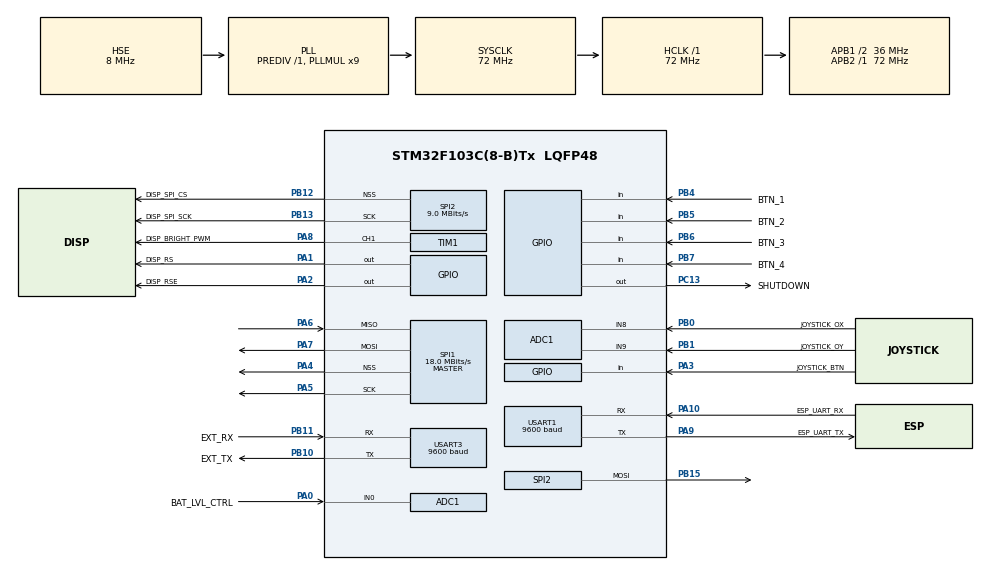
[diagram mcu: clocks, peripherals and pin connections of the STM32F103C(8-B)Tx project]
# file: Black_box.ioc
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ADC1.Channel-0\#ChannelRegularConversion=ADC_CHANNEL_0
ADC1.Channel-1\#ChannelRegularConversion=ADC_CHANNEL_8
ADC1.Channel-2\#ChannelRegularConversion=ADC_CHANNEL_9
ADC1.Channel-3\#ChannelRegularConversion=ADC_CHANNEL_TEMPSENSOR
ADC1.Channel-4\#ChannelRegularConversion=ADC_CHANNEL_VREFINT
ADC1.DataAlign=ADC_DATAALIGN_RIGHT
ADC1.EnableInjectedConversion=DISABLE
ADC1.InjNumberOfConversion=3
ADC1.NbrOfConversion=5
ADC1.NbrOfConversionFlag=1
ADC1.Rank-0\#ChannelRegularConversion=1
ADC1.Rank-1\#ChannelRegularConversion=2
ADC1.Rank-2\#ChannelRegularConversion=3
ADC1.Rank-3\#ChannelRegularConversion=4
ADC1.Rank-4\#ChannelRegularConversion=5
ADC1.SamplingTime-0\#ChannelRegularConversion=ADC_SAMPLETIME_239CYCLES_5
ADC1.SamplingTime-1\#ChannelRegularConversion=ADC_SAMPLETIME_239CYCLES_5
ADC1.SamplingTime-2\#ChannelRegularConversion=ADC_SAMPLETIME_239CYCLES_5
ADC1.SamplingTime-3\#ChannelRegularConversion=ADC_SAMPLETIME_239CYCLES_5
ADC1.SamplingTime-4\#ChannelRegularConversion=ADC_SAMPLETIME_239CYCLES_5
ADC1.master=1
Dma.ADC1.0.Direction=DMA_PERIPH_TO_MEMORY
Dma.ADC1.0.Instance=DMA1_Channel1
Dma.ADC1.0.MemDataAlignment=DMA_MDATAALIGN_HALFWORD
Dma.ADC1.0.MemInc=DMA_MINC_ENABLE
Dma.ADC1.0.Mode=DMA_NORMAL
Dma.ADC1.0.PeriphDataAlignment=DMA_PDATAALIGN_HALFWORD
Dma.ADC1.0.PeriphInc=DMA_PINC_DISABLE
Dma.ADC1.0.Priority=DMA_PRIORITY_LOW
Dma.Request0=ADC1
Mcu.Family=STM32F1
Mcu.Name=STM32F103C(8-B)Tx
Mcu.Package=LQFP48
NVIC.DMA1_Channel1_IRQn=true\:0\:0\:false\:false\:true\:false\:true\:true
NVIC.PriorityGroup=NVIC_PRIORITYGROUP_4
NVIC.USART1_IRQn=true\:0\:0\:false\:false\:true\:true\:true\:true
NVIC.USART3_IRQn=true\:0\:0\:false\:false\:true\:true\:true\:true
PA0-WKUP.GPIO_Label=BAT_LVL_CTRL
PA0-WKUP.Signal=SharedAnalog_PA0
PA1.GPIO_Label=DISP_RS
PA1.Signal=GPIO_Output
PA10.GPIO_Label=ESP_UART_RX
PA10.Mode=Asynchronous
PA10.Signal=USART1_RX
PA13.Mode=Trace_Asynchronous_SW
PA13.Signal=SYS_JTMS-SWDIO
PA14.Mode=Trace_Asynchronous_SW
PA14.Signal=SYS_JTCK-SWCLK
PA2.GPIO_Label=DISP_RSE
PA2.Signal=GPIO_Output
PA3.GPIO_Label=JOYSTICK_BTN
PA3.GPIO_PuPd=GPIO_PULLUP
PA3.Signal=GPIO_Input
PA4.Mode=NSS_Signal_Hard_Output
PA4.Signal=SPI1_NSS
PA5.Mode=Full_Duplex_Master
PA5.Signal=SPI1_SCK
PA6.Mode=Full_Duplex_Master
PA6.Signal=SPI1_MISO
PA7.Mode=Full_Duplex_Master
PA7.Signal=SPI1_MOSI
PA8.GPIO_Label=DISP_BRIGHT_PWM
PA8.Signal=S_TIM1_CH1
PA9.GPIO_Label=ESP_UART_TX
PA9.Mode=Asynchronous
PA9.Signal=USART1_TX
PB0.GPIO_Label=JOYSTICK_OX
PB0.Signal=SharedAnalog_PB0
PB1.GPIO_Label=JOYSTICK_OY
PB1.Signal=SharedAnalog_PB1
PB10.GPIO_Label=EXT_TX
PB10.Mode=Asynchronous
PB10.Signal=USART3_TX
PB11.GPIO_Label=EXT_RX
PB11.Mode=Asynchronous
PB11.Signal=USART3_RX
PB12.GPIO_Label=DISP_SPI_CS
PB12.Mode=NSS_Signal_Hard_Output
PB12.Signal=SPI2_NSS
PB13.GPIO_Label=DISP_SPI_SCK
PB13.Mode=TX_Only_Simplex_Unidirect_Master
PB13.Signal=SPI2_SCK
PB15.Mode=TX_Only_Simplex_Unidirect_Master
PB15.Signal=SPI2_MOSI
PB3.Mode=Trace_Asynchronous_SW
PB3.Signal=SYS_JTDO-TRACESWO
PB4.GPIO_Label=BTN_1
PB4.GPIO_PuPd=GPIO_PULLUP
PB4.Signal=GPIO_Input
PB5.GPIO_Label=BTN_2
PB5.GPIO_PuPd=GPIO_PULLUP
PB5.Signal=GPIO_Input
PB6.GPIO_Label=BTN_3
PB6.GPIO_PuPd=GPIO_PULLUP
PB6.Signal=GPIO_Input
PB7.GPIO_Label=BTN_4
PB7.GPIO_PuPd=GPIO_PULLUP
PB7.Signal=GPIO_Input
PC13-TAMPER-RTC.GPIO_Label=SHUTDOWN
PC13-TAMPER-RTC.GPIO_ModeDefaultOutputPP=GPIO_MODE_OUTPUT_OD
PC13-TAMPER-RTC.GPIO_PuPd=GPIO_NOPULL
PC13-TAMPER-RTC.PinState=GPIO_PIN_SET
PC13-TAMPER-RTC.Signal=GPIO_Output
PC14-OSC32_IN.Mode=LSE-External-Oscillator
PC14-OSC32_IN.Signal=RCC_OSC32_IN
PC15-OSC32_OUT.Mode=LSE-External-Oscillator
PC15-OSC32_OUT.Signal=RCC_OSC32_OUT
PD0-OSC_IN.Mode=HSE-External-Oscillator
PD0-OSC_IN.Signal=RCC_OSC_IN
PD1-OSC_OUT.Mode=HSE-External-Oscillator
PD1-OSC_OUT.Signal=RCC_OSC_OUT
ProjectManager.HeapSize=0x200
ProjectManager.StackSize=0x400
ProjectManager.TargetToolchain=STM32CubeIDE
RCC.ADCPresc=RCC_ADCPCLK2_DIV6
RCC.AHBFreq_Value=72000000
RCC.APB1CLKDivider=RCC_HCLK_DIV2
RCC.APB1Freq_Value=36000000
RCC.APB1TimFreq_Value=72000000
RCC.APB2Freq_Value=72000000
RCC.APB2TimFreq_Value=72000000
RCC.HCLKFreq_Value=72000000
RCC.PLLMUL=RCC_PLL_MUL9
RCC.PLLSourceVirtual=RCC_PLLSOURCE_HSE
RCC.RTCClockSelection=RCC_RTCCLKSOURCE_LSE
RCC.SYSCLKFreq_VALUE=72000000
RCC.SYSCLKSource=RCC_SYSCLKSOURCE_PLLCLK
RCC.USBFreq_Value=48000000
RCC.USBPrescaler=RCC_USBCLKSOURCE_PLL_DIV1_5
RTC.AutoPrediv=RTC_AUTO_1_SECOND
SH.S_TIM1_CH1.0=TIM1_CH1,PWM Generation1 CH1
SH.SharedAnalog_PA0.0=GPIO_Analog
SH.SharedAnalog_PA0.1=ADC1_IN0,IN0
SH.SharedAnalog_PB0.0=GPIO_Analog
SH.SharedAnalog_PB0.1=ADC1_IN8,IN8
SH.SharedAnalog_PB1.0=GPIO_Analog
SH.SharedAnalog_PB1.1=ADC1_IN9,IN9
SPI1.BaudRatePrescaler=SPI_BAUDRATEPRESCALER_4
SPI1.CalculateBaudRate=18.0 MBits/s
SPI1.Direction=SPI_DIRECTION_2LINES
SPI1.Mode=SPI_MODE_MASTER
SPI1.VirtualNSS=VM_NSSHARD
SPI1.VirtualType=VM_MASTER
SPI2.BaudRatePrescaler=SPI_BAUDRATEPRESCALER_4
SPI2.CLKPhase=SPI_PHASE_1EDGE
SPI2.CLKPolarity=SPI_POLARITY_LOW
SPI2.CalculateBaudRate=9.0 MBits/s
SPI2.DataSize=SPI_DATASIZE_8BIT
SPI2.Direction=SPI_DIRECTION_2LINES
SPI2.FirstBit=SPI_FIRSTBIT_MSB
SPI2.Mode=SPI_MODE_MASTER
SPI2.VirtualNSS=VM_NSSHARD
SPI2.VirtualType=VM_MASTER
TIM1.Channel-PWM\ Generation1\ CH1=TIM_CHANNEL_1
TIM1.ClockDivision=TIM_CLOCKDIVISION_DIV1
TIM1.Pulse-PWM\ Generation1\ CH1=50000
USART1.BaudRate=9600
USART1.VirtualMode=VM_ASYNC
USART3.BaudRate=9600
USART3.VirtualMode=VM_ASYNC
USART3.WordLength=WORDLENGTH_8B
VP_ADC1_TempSens_Input.Mode=IN-TempSens
VP_ADC1_Vref_Input.Mode=IN-Vrefint
VP_RTC_No_RTC_Output.Mode=RTC_OUT_NO
VP_RTC_VS_RTC_Activate.Mode=RTC_Enabled
VP_RTC_VS_RTC_Calendar.Mode=RTC_Calendar
board=custom

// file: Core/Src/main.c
/* USER CODE BEGIN Header */
/**
  ******************************************************************************
  * @file           : main.c
  * @brief          : Main program body
  ******************************************************************************
  * @attention
  *
  * Copyright (c) 2025 STMicroelectronics.
  * All rights reserved.
  *
  * This software is licensed under terms that can be found in the LICENSE file
  * in the root directory of this software component.
  * If no LICENSE file comes with this software, it is provided AS-IS.
  *
  ******************************************************************************
  */
#define  AVER_PERIOD    100
/* USER CODE END Header */
#include "main.h"

/* USER CODE BEGIN Includes */
#include "drv_lcd_st7565.h"
#include "RingBuffer.h"

/* USER CODE END Includes */

/* USER CODE BEGIN PTD */
typedef union{
	uint16_t array[5];
	struct{
		uint16_t batlvl;
		uint16_t jox;
		uint16_t joy;
		uint16_t tmpr;
		uint16_t vref;
	};
}ADCdat_t;

typedef struct
{
  int batlvl;
  int jox;
  int joy;
  int tmpr;
  int vref;
}ADCaverdat_t;

int32_t aver_counter = AVER_PERIOD;
uint32_t adc_complete = 1;
uint32_t adc_avercomplete = 0;

typedef struct
{
  uint8_t joyx[128];
  uint8_t joyy[128];
  uint8_t Vbat[128];
  uint8_t Vpowsup[128];
  uint8_t Temper[128];
  uint8_t UART_string[1024];
  uint8_t Seconds[128];
}DispDat_t;

/* USER CODE END PTD */

ADC_HandleTypeDef hadc1;
DMA_HandleTypeDef hdma_adc1;

RTC_HandleTypeDef hrtc;

SPI_HandleTypeDef hspi1;
SPI_HandleTypeDef hspi2;

TIM_HandleTypeDef htim1;

UART_HandleTypeDef huart1;
UART_HandleTypeDef huart3;

/* USER CODE BEGIN PV */
RINGBUF_t ringbuf;
uint8_t rx_buf[1024] = {0};
uint8_t temp_byte;
DispDat_t temp_str = {0};

ADCdat_t ADC_data;
ADCaverdat_t ADC_averdata;
/* USER CODE END PV */

void SystemClock_Config(void);
static void MX_GPIO_Init(void);
static void MX_DMA_Init(void);
static void MX_ADC1_Init(void);
static void MX_SPI2_Init(void);
static void MX_TIM1_Init(void);
static void MX_RTC_Init(void);
static void MX_SPI1_Init(void);
static void MX_USART1_UART_Init(void);
static void MX_USART3_UART_Init(void);

/* USER CODE BEGIN 0 */
int _write(int file, char *ptr, int len)
  {
  	for (int i = 0; i < len; i++)
  	{
  		ITM_SendChar(*ptr++);
  	}
  	return len;
  }
/* USER CODE END 0 */

int main(void)
{

  /* MCU Configuration--------------------------------------------------------*/

  /* Reset of all peripherals, Initializes the Flash interface and the Systick. */
  HAL_Init();

  /* Configure the system clock */
  SystemClock_Config();

  /* Initialize all configured peripherals */
  MX_GPIO_Init();
  MX_DMA_Init();
  MX_ADC1_Init();
  MX_SPI2_Init();
  MX_TIM1_Init();
  MX_RTC_Init();
  MX_SPI1_Init();
  MX_USART1_UART_Init();
  MX_USART3_UART_Init();
  /* USER CODE BEGIN 2 */

  lcd_init();
  RingBuf_Init(rx_buf, 1024, 1, &ringbuf);
  uint16_t dutyCycle = 0xB000;
  __HAL_TIM_SET_COMPARE(&htim1, TIM_CHANNEL_1, dutyCycle);
  HAL_TIM_PWM_Start(&htim1, TIM_CHANNEL_1);

  /* USER CODE END 2 */

  /* Infinite loop */
  /* USER CODE BEGIN WHILE */

  HAL_UART_Receive_IT(&huart3, &temp_byte, 1);
  HAL_ADC_Start_DMA(&hadc1, (uint32_t*)ADC_data.array, 5);
  adc_complete = 0;

  uint16_t buf_len = 0;
  uint16_t buf_len_prev = 0;
  uint32_t period[3] = {20, 20, 5};
  uint32_t temp_tick[3] = {0};
  int Temperature = 0;
  int joyVoltX = 0;
  int joyVoltY = 0;
  int Vbattery = 0;
  int Vpower = 0;
  lcd_buferase();

/*---------------------------------------------------------------------------------------------------------------------------------------*/
  while (1)
  {
    RingBuf_Available(&buf_len, &ringbuf);
    if(buf_len)
    {
      if(buf_len_prev != buf_len)
      {
        buf_len_prev = buf_len;
        temp_tick[2] = HAL_GetTick();
      }
      if((HAL_GetTick() - temp_tick[2]) > period[2])
      {
        RingBuf_DataRead(temp_str.UART_string, buf_len, &ringbuf);
        temp_str.UART_string[buf_len] = '\0';
      }
    }

    if(adc_avercomplete)
    {
      ADC_averdata.batlvl = ADC_averdata.batlvl / AVER_PERIOD;
      ADC_averdata.jox /= AVER_PERIOD;
      ADC_averdata.joy /= AVER_PERIOD;
      ADC_averdata.tmpr /= AVER_PERIOD;
      ADC_averdata.vref /= AVER_PERIOD;

      joyVoltX = (ADC_averdata.jox * 1157) / ADC_averdata.vref;
      sprintf((char*)temp_str.joyx, "Jx: %d.%02dV", joyVoltX/1000, (joyVoltX%1000)/10);
      joyVoltY = (ADC_averdata.joy * 1157) / ADC_averdata.vref;
      sprintf((char*)temp_str.joyy, "Jy: %d.%02dV", joyVoltY/1000, (joyVoltY%1000)/10);
      Vbattery = (ADC_averdata.batlvl * 1580) / ADC_averdata.vref;
      sprintf((char*)temp_str.Vbat, "Vb: %d.%02dV", Vbattery/1000, (Vbattery%1000)/10);
      Vpower = (4095 * 1157) / ADC_averdata.vref;
      sprintf((char*)temp_str.Vpowsup, "Vp: %d.%02dV", Vpower/1000, (Vpower%1000)/10);
      Temperature = 358 - ((int)ADC_averdata.tmpr * 279) / (int)ADC_averdata.vref;
      sprintf((char*)temp_str.Temper, "T:  %d%cC",Temperature, 176);

      ADC_averdata.batlvl = 0;
      ADC_averdata.jox = 0;
      ADC_averdata.joy = 0;
      ADC_averdata.tmpr = 0;
      ADC_averdata.vref = 0;
      adc_avercomplete = 0;
      aver_counter = AVER_PERIOD;
    }

    sprintf((char*)temp_str.Seconds, "%02lu:%02lu:%02lu", (HAL_GetTick()/1000)/3600, ((HAL_GetTick()/1000)%3600)/60, (HAL_GetTick()/1000)%60);

    if((HAL_GetTick() - temp_tick[0]) > period[0])
    {
      temp_tick[0] = HAL_GetTick();
      lcd_buferase();
      lcd_bufwstr8x5(temp_str.joyx, 0, 0, 0);
      lcd_bufwstr8x5(temp_str.joyy, 1, 0, 0);
      lcd_bufwstr8x5(temp_str.Vbat, 0, 65, 0);
      lcd_bufwstr8x5(temp_str.Vpowsup, 1, 65, 0);
      lcd_bufwstr8x5(temp_str.Temper, 2, 0, 0);
      lcd_bufwstr8x5(temp_str.Seconds, 2, 65, 0);
      lcd_bufwstr8x5(temp_str.UART_string, 3, 0, 1);
    }

    /*-----------------Отправка данных из lcd-буфера на дисплей------------*/
    if((HAL_GetTick() - temp_tick[1]) > period[1])
    {
      temp_tick[1] = HAL_GetTick();
      lcd_bufupload();
    }
    /*---------------------------------------------------------------------*/

    if(adc_complete)
    {
      HAL_ADC_Start_DMA(&hadc1, (uint32_t*)ADC_data.array, 5);
      adc_complete = 0;
    }

    /* USER CODE END WHILE */

  }
}

void SystemClock_Config(void)
{
  RCC_OscInitTypeDef RCC_OscInitStruct = {0};
  RCC_ClkInitTypeDef RCC_ClkInitStruct = {0};
  RCC_PeriphCLKInitTypeDef PeriphClkInit = {0};

  /** Initializes the RCC Oscillators according to the specified parameters
  * in the RCC_OscInitTypeDef structure.
  */
  RCC_OscInitStruct.OscillatorType = RCC_OSCILLATORTYPE_HSE|RCC_OSCILLATORTYPE_LSE;
  RCC_OscInitStruct.HSEState = RCC_HSE_ON;
  RCC_OscInitStruct.HSEPredivValue = RCC_HSE_PREDIV_DIV1;
  RCC_OscInitStruct.LSEState = RCC_LSE_ON;
  RCC_OscInitStruct.HSIState = RCC_HSI_ON;
  RCC_OscInitStruct.PLL.PLLState = RCC_PLL_ON;
  RCC_OscInitStruct.PLL.PLLSource = RCC_PLLSOURCE_HSE;
  RCC_OscInitStruct.PLL.PLLMUL = RCC_PLL_MUL9;
  if (HAL_RCC_OscConfig(&RCC_OscInitStruct) != HAL_OK)
  {
    Error_Handler();
  }

  /** Initializes the CPU, AHB and APB buses clocks
  */
  RCC_ClkInitStruct.ClockType = RCC_CLOCKTYPE_HCLK|RCC_CLOCKTYPE_SYSCLK
                              |RCC_CLOCKTYPE_PCLK1|RCC_CLOCKTYPE_PCLK2;
  RCC_ClkInitStruct.SYSCLKSource = RCC_SYSCLKSOURCE_PLLCLK;
  RCC_ClkInitStruct.AHBCLKDivider = RCC_SYSCLK_DIV1;
  RCC_ClkInitStruct.APB1CLKDivider = RCC_HCLK_DIV2;
  RCC_ClkInitStruct.APB2CLKDivider = RCC_HCLK_DIV1;

  if (HAL_RCC_ClockConfig(&RCC_ClkInitStruct, FLASH_LATENCY_2) != HAL_OK)
  {
    Error_Handler();
  }
  PeriphClkInit.PeriphClockSelection = RCC_PERIPHCLK_RTC|RCC_PERIPHCLK_ADC;
  PeriphClkInit.RTCClockSelection = RCC_RTCCLKSOURCE_LSE;
  PeriphClkInit.AdcClockSelection = RCC_ADCPCLK2_DIV6;
  if (HAL_RCCEx_PeriphCLKConfig(&PeriphClkInit) != HAL_OK)
  {
    Error_Handler();
  }
}

static void MX_ADC1_Init(void)
{

  ADC_ChannelConfTypeDef sConfig = {0};

  /** Common config
  */
  hadc1.Instance = ADC1;
  hadc1.Init.ScanConvMode = ADC_SCAN_ENABLE;
  hadc1.Init.ContinuousConvMode = DISABLE;
  hadc1.Init.DiscontinuousConvMode = DISABLE;
  hadc1.Init.ExternalTrigConv = ADC_SOFTWARE_START;
  hadc1.Init.DataAlign = ADC_DATAALIGN_RIGHT;
  hadc1.Init.NbrOfConversion = 5;
  if (HAL_ADC_Init(&hadc1) != HAL_OK)
  {
    Error_Handler();
  }

  /** Configure Regular Channel
  */
  sConfig.Channel = ADC_CHANNEL_0;
  sConfig.Rank = ADC_REGULAR_RANK_1;
  sConfig.SamplingTime = ADC_SAMPLETIME_239CYCLES_5;
  if (HAL_ADC_ConfigChannel(&hadc1, &sConfig) != HAL_OK)
  {
    Error_Handler();
  }

  /** Configure Regular Channel
  */
  sConfig.Channel = ADC_CHANNEL_8;
  sConfig.Rank = ADC_REGULAR_RANK_2;
  if (HAL_ADC_ConfigChannel(&hadc1, &sConfig) != HAL_OK)
  {
    Error_Handler();
  }

  /** Configure Regular Channel
  */
  sConfig.Channel = ADC_CHANNEL_9;
  sConfig.Rank = ADC_REGULAR_RANK_3;
  if (HAL_ADC_ConfigChannel(&hadc1, &sConfig) != HAL_OK)
  {
    Error_Handler();
  }

  /** Configure Regular Channel
  */
  sConfig.Channel = ADC_CHANNEL_TEMPSENSOR;
  sConfig.Rank = ADC_REGULAR_RANK_4;
  if (HAL_ADC_ConfigChannel(&hadc1, &sConfig) != HAL_OK)
  {
    Error_Handler();
  }

  /** Configure Regular Channel
  */
  sConfig.Channel = ADC_CHANNEL_VREFINT;
  sConfig.Rank = ADC_REGULAR_RANK_5;
  if (HAL_ADC_ConfigChannel(&hadc1, &sConfig) != HAL_OK)
  {
    Error_Handler();
  }

}

static void MX_RTC_Init(void)
{

  RTC_TimeTypeDef sTime = {0};
  RTC_DateTypeDef DateToUpdate = {0};

  /** Initialize RTC Only
  */
  hrtc.Instance = RTC;
  hrtc.Init.AsynchPrediv = RTC_AUTO_1_SECOND;
  hrtc.Init.OutPut = RTC_OUTPUTSOURCE_NONE;
  if (HAL_RTC_Init(&hrtc) != HAL_OK)
  {
    Error_Handler();
  }

  /** Initialize RTC and set the Time and Date
  */
  sTime.Hours = 0x0;
  sTime.Minutes = 0x0;
  sTime.Seconds = 0x0;

  if (HAL_RTC_SetTime(&hrtc, &sTime, RTC_FORMAT_BCD) != HAL_OK)
  {
    Error_Handler();
  }
  DateToUpdate.WeekDay = RTC_WEEKDAY_MONDAY;
  DateToUpdate.Month = RTC_MONTH_JANUARY;
  DateToUpdate.Date = 0x1;
  DateToUpdate.Year = 0x0;

  if (HAL_RTC_SetDate(&hrtc, &DateToUpdate, RTC_FORMAT_BCD) != HAL_OK)
  {
    Error_Handler();
  }

}

static void MX_SPI1_Init(void)
{

  /* SPI1 parameter configuration*/
  hspi1.Instance = SPI1;
  hspi1.Init.Mode = SPI_MODE_MASTER;
  hspi1.Init.Direction = SPI_DIRECTION_2LINES;
  hspi1.Init.DataSize = SPI_DATASIZE_8BIT;
  hspi1.Init.CLKPolarity = SPI_POLARITY_LOW;
  hspi1.Init.CLKPhase = SPI_PHASE_1EDGE;
  hspi1.Init.NSS = SPI_NSS_HARD_OUTPUT;
  hspi1.Init.BaudRatePrescaler = SPI_BAUDRATEPRESCALER_4;
  hspi1.Init.FirstBit = SPI_FIRSTBIT_MSB;
  hspi1.Init.TIMode = SPI_TIMODE_DISABLE;
  hspi1.Init.CRCCalculation = SPI_CRCCALCULATION_DISABLE;
  hspi1.Init.CRCPolynomial = 10;
  if (HAL_SPI_Init(&hspi1) != HAL_OK)
  {
    Error_Handler();
  }

}

static void MX_SPI2_Init(void)
{

  /* SPI2 parameter configuration*/
  hspi2.Instance = SPI2;
  hspi2.Init.Mode = SPI_MODE_MASTER;
  hspi2.Init.Direction = SPI_DIRECTION_2LINES;
  hspi2.Init.DataSize = SPI_DATASIZE_8BIT;
  hspi2.Init.CLKPolarity = SPI_POLARITY_LOW;
  hspi2.Init.CLKPhase = SPI_PHASE_1EDGE;
  hspi2.Init.NSS = SPI_NSS_HARD_OUTPUT;
  hspi2.Init.BaudRatePrescaler = SPI_BAUDRATEPRESCALER_4;
  hspi2.Init.FirstBit = SPI_FIRSTBIT_MSB;
  hspi2.Init.TIMode = SPI_TIMODE_DISABLE;
  hspi2.Init.CRCCalculation = SPI_CRCCALCULATION_DISABLE;
  hspi2.Init.CRCPolynomial = 10;
  if (HAL_SPI_Init(&hspi2) != HAL_OK)
  {
    Error_Handler();
  }

}

static void MX_TIM1_Init(void)
{

  TIM_MasterConfigTypeDef sMasterConfig = {0};
  TIM_OC_InitTypeDef sConfigOC = {0};
  TIM_BreakDeadTimeConfigTypeDef sBreakDeadTimeConfig = {0};

  htim1.Instance = TIM1;
  htim1.Init.Prescaler = 0;
  htim1.Init.CounterMode = TIM_COUNTERMODE_UP;
  htim1.Init.Period = 65535;
  htim1.Init.ClockDivision = TIM_CLOCKDIVISION_DIV1;
  htim1.Init.RepetitionCounter = 0;
  htim1.Init.AutoReloadPreload = TIM_AUTORELOAD_PRELOAD_DISABLE;
  if (HAL_TIM_PWM_Init(&htim1) != HAL_OK)
  {
    Error_Handler();
  }
  sMasterConfig.MasterOutputTrigger = TIM_TRGO_RESET;
  sMasterConfig.MasterSlaveMode = TIM_MASTERSLAVEMODE_DISABLE;
  if (HAL_TIMEx_MasterConfigSynchronization(&htim1, &sMasterConfig) != HAL_OK)
  {
    Error_Handler();
  }
  sConfigOC.OCMode = TIM_OCMODE_PWM1;
  sConfigOC.Pulse = 50000;
  sConfigOC.OCPolarity = TIM_OCPOLARITY_HIGH;
  sConfigOC.OCNPolarity = TIM_OCNPOLARITY_HIGH;
  sConfigOC.OCFastMode = TIM_OCFAST_DISABLE;
  sConfigOC.OCIdleState = TIM_OCIDLESTATE_RESET;
  sConfigOC.OCNIdleState = TIM_OCNIDLESTATE_RESET;
  if (HAL_TIM_PWM_ConfigChannel(&htim1, &sConfigOC, TIM_CHANNEL_1) != HAL_OK)
  {
    Error_Handler();
  }
  sBreakDeadTimeConfig.OffStateRunMode = TIM_OSSR_DISABLE;
  sBreakDeadTimeConfig.OffStateIDLEMode = TIM_OSSI_DISABLE;
  sBreakDeadTimeConfig.LockLevel = TIM_LOCKLEVEL_OFF;
  sBreakDeadTimeConfig.DeadTime = 0;
  sBreakDeadTimeConfig.BreakState = TIM_BREAK_DISABLE;
  sBreakDeadTimeConfig.BreakPolarity = TIM_BREAKPOLARITY_HIGH;
  sBreakDeadTimeConfig.AutomaticOutput = TIM_AUTOMATICOUTPUT_DISABLE;
  if (HAL_TIMEx_ConfigBreakDeadTime(&htim1, &sBreakDeadTimeConfig) != HAL_OK)
  {
    Error_Handler();
  }
  HAL_TIM_MspPostInit(&htim1);

}

static void MX_USART1_UART_Init(void)
{

  huart1.Instance = USART1;
  huart1.Init.BaudRate = 9600;
  huart1.Init.WordLength = UART_WORDLENGTH_8B;
  huart1.Init.StopBits = UART_STOPBITS_1;
  huart1.Init.Parity = UART_PARITY_NONE;
  huart1.Init.Mode = UART_MODE_TX_RX;
  huart1.Init.HwFlowCtl = UART_HWCONTROL_NONE;
  huart1.Init.OverSampling = UART_OVERSAMPLING_16;
  if (HAL_UART_Init(&huart1) != HAL_OK)
  {
    Error_Handler();
  }

}

static void MX_USART3_UART_Init(void)
{

  huart3.Instance = USART3;
  huart3.Init.BaudRate = 9600;
  huart3.Init.WordLength = UART_WORDLENGTH_8B;
  huart3.Init.StopBits = UART_STOPBITS_1;
  huart3.Init.Parity = UART_PARITY_NONE;
  huart3.Init.Mode = UART_MODE_TX_RX;
  huart3.Init.HwFlowCtl = UART_HWCONTROL_NONE;
  huart3.Init.OverSampling = UART_OVERSAMPLING_16;
  if (HAL_UART_Init(&huart3) != HAL_OK)
  {
    Error_Handler();
  }

}

static void MX_DMA_Init(void)
{

  /* DMA controller clock enable */
  __HAL_RCC_DMA1_CLK_ENABLE();

  /* DMA interrupt init */
  /* DMA1_Channel1_IRQn interrupt configuration */
  HAL_NVIC_SetPriority(DMA1_Channel1_IRQn, 0, 0);
  HAL_NVIC_EnableIRQ(DMA1_Channel1_IRQn);

}

static void MX_GPIO_Init(void)
{
  GPIO_InitTypeDef GPIO_InitStruct = {0};

  /* GPIO Ports Clock Enable */
  __HAL_RCC_GPIOC_CLK_ENABLE();
  __HAL_RCC_GPIOD_CLK_ENABLE();
  __HAL_RCC_GPIOA_CLK_ENABLE();
  __HAL_RCC_GPIOB_CLK_ENABLE();

  /*Configure GPIO pin Output Level */
  HAL_GPIO_WritePin(SHUTDOWN_GPIO_Port, SHUTDOWN_Pin, GPIO_PIN_SET);

  /*Configure GPIO pin Output Level */
  HAL_GPIO_WritePin(GPIOA, DISP_RS_Pin|DISP_RSE_Pin, GPIO_PIN_RESET);

  /*Configure GPIO pin : SHUTDOWN_Pin */
  GPIO_InitStruct.Pin = SHUTDOWN_Pin;
  GPIO_InitStruct.Mode = GPIO_MODE_OUTPUT_OD;
  GPIO_InitStruct.Pull = GPIO_NOPULL;
  GPIO_InitStruct.Speed = GPIO_SPEED_FREQ_LOW;
  HAL_GPIO_Init(SHUTDOWN_GPIO_Port, &GPIO_InitStruct);

  /*Configure GPIO pins : DISP_RS_Pin DISP_RSE_Pin */
  GPIO_InitStruct.Pin = DISP_RS_Pin|DISP_RSE_Pin;
  GPIO_InitStruct.Mode = GPIO_MODE_OUTPUT_PP;
  GPIO_InitStruct.Pull = GPIO_NOPULL;
  GPIO_InitStruct.Speed = GPIO_SPEED_FREQ_LOW;
  HAL_GPIO_Init(GPIOA, &GPIO_InitStruct);

  /*Configure GPIO pin : JOYSTICK_BTN_Pin */
  GPIO_InitStruct.Pin = JOYSTICK_BTN_Pin;
  GPIO_InitStruct.Mode = GPIO_MODE_INPUT;
  GPIO_InitStruct.Pull = GPIO_PULLUP;
  HAL_GPIO_Init(JOYSTICK_BTN_GPIO_Port, &GPIO_InitStruct);

  /*Configure GPIO pins : BTN_1_Pin BTN_2_Pin BTN_3_Pin BTN_4_Pin */
  GPIO_InitStruct.Pin = BTN_1_Pin|BTN_2_Pin|BTN_3_Pin|BTN_4_Pin;
  GPIO_InitStruct.Mode = GPIO_MODE_INPUT;
  GPIO_InitStruct.Pull = GPIO_PULLUP;
  HAL_GPIO_Init(GPIOB, &GPIO_InitStruct);

}

/* USER CODE BEGIN 4 */
void HAL_UART_RxCpltCallback(UART_HandleTypeDef *huart)
{
  if(huart == &huart3)
  {
    RingBuf_BytePut(temp_byte, &ringbuf);
    HAL_UART_Receive_IT (&huart3, &temp_byte, 1);
  }
}

void HAL_UART_TxCpltCallback(UART_HandleTypeDef *huart)
{
  if(huart == &huart3)
  {
  }
}

void HAL_ADC_ConvCpltCallback(ADC_HandleTypeDef* hadc)
{
  if(hadc->Instance == ADC1)
  {
    if(aver_counter)
    {
      ADC_averdata.batlvl += (uint32_t) ADC_data.batlvl;
      ADC_averdata.jox += (uint32_t) ADC_data.jox;
      ADC_averdata.joy += (uint32_t) ADC_data.joy;
      ADC_averdata.tmpr += (uint32_t) ADC_data.tmpr;
      ADC_averdata.vref += (uint32_t) ADC_data.vref;
      aver_counter--;
    }
    else adc_avercomplete = 1;

    adc_complete = 1;
  }
}
/* USER CODE END 4 */

void Error_Handler(void)
{
  __disable_irq();
  while (1)
  {
  }
}
